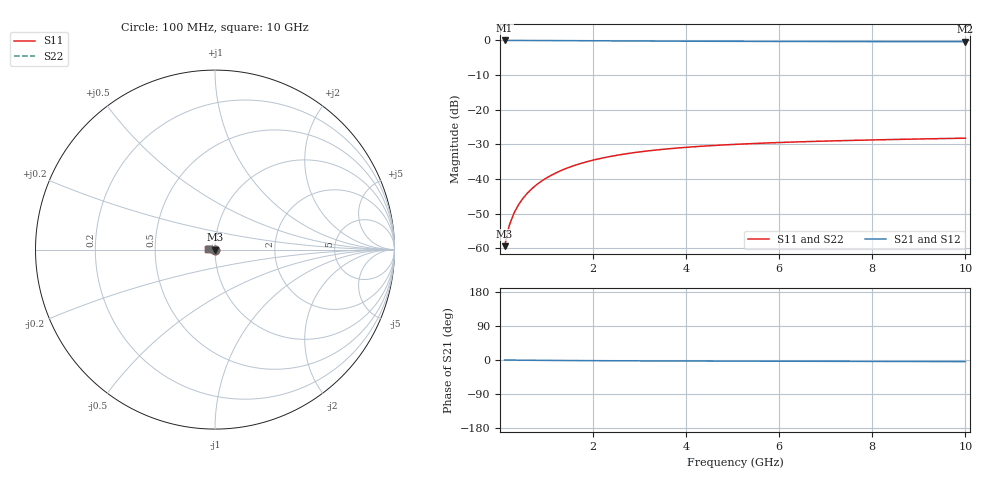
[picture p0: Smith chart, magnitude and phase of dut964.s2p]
! Touchstone file exported from HFSS 2024.1.0
!  File:  C:/UserFiles/LocalFiles/RDL_TSV_Batchsim/temp_TSV1_964_1779950633.aedt
!  Generated:  02:49:21 PM May 28, 2026
!  Design:  TSV1
!  Project:  temp_TSV1_964_1779950633
!  Setup:  Setup1
!  Solution:  Sweep
! Variables:
!  dtsv = 11.07um
!  hbump = 3um
!  htsv = 64.12um
!  lrdl = 252.1521522um
!  p = 40
!  p1 = 51.87um
!  t = 500um
!  trdl = 3um
!  wrdl = 24.89489489um
# GHz S MA R 50.000000
! Terminal data exported
! Port[1] = TSV22_T1
! Port[2] = TSV22_T2
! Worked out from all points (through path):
!   100 points, 100 MHz to 10 GHz, reference 50 ohm
!   highest |S21| = 0.00 dB at 100 MHz (marker M1); lowest = -0.4 dB at 10 GHz (marker M2)
!   lowest |S11| = -59.4 dB at 100 MHz (marker M3), VSWR 1.00, Z = 50 - j0.107 ohm
!   |S11| at or under -10 dB: start of sweep to end of sweep
!   |S22| runs from -59.4 to -28.2 dB; largest |S21 - S12| = 1.1e-14
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0.1  0.001073 -86.3  0.9999 -0.1  0.9999 -0.1  0.001073 -86.3
! Gamma 0 0 0 0
! Port Impedance 50 0 50 0
0.2  0.002139 -90.8  0.9997 -0.2  0.9997 -0.2  0.002139 -90.8
0.3  0.003206 -93.5  0.9996 -0.3  0.9996 -0.3  0.003206 -93.5
0.4  0.004268 -95.8  0.9993 -0.4  0.9993 -0.4  0.004268 -95.8
0.5  0.005322 -97.9  0.999 -0.5  0.999 -0.5  0.005322 -97.9
0.6  0.006363 -99.9  0.9986 -0.6  0.9986 -0.6  0.006363 -99.9
0.7  0.00739 -101.8  0.9982 -0.7  0.9982 -0.7  0.00739 -101.8
0.8  0.0084 -103.8  0.9977 -0.8  0.9977 -0.8  0.0084 -103.8
0.9  0.009391 -105.6  0.9971 -0.9  0.9971 -0.9  0.009391 -105.6
1.1  0.01131 -109.2  0.9959 -1.1  0.9959 -1.1  0.01131 -109.2
1.4  0.01401 -114.4  0.9939 -1.3  0.9939 -1.3  0.01401 -114.4
1.6  0.01568 -117.6  0.9924 -1.5  0.9924 -1.5  0.01568 -117.6
1.8  0.01725 -120.7  0.9909 -1.6  0.9909 -1.6  0.01725 -120.7
2.1  0.0194 -125.1  0.9885 -1.8  0.9885 -1.8  0.0194 -125.1
2.5  0.02194 -130.5  0.9854 -2.0  0.9854 -2.0  0.02194 -130.5
2.9  0.02411 -135.4  0.9825 -2.2  0.9825 -2.2  0.02411 -135.4
3.4  0.02641 -141.0  0.9792 -2.4  0.9792 -2.4  0.02641 -141.0
4.2  0.0293 -148.6  0.9746 -2.7  0.9746 -2.7  0.0293 -148.6
5.1  0.03174 -155.7  0.9706 -3.0  0.9706 -3.0  0.03174 -155.7
6.7  0.03482 -165.9  0.9655 -3.4  0.9655 -3.4  0.03481 -165.9
8.4  0.03712 -174.6  0.9619 -3.8  0.9619 -3.8  0.03712 -174.6
10  0.03885 178.6  0.9596 -4.3  0.9596 -4.3  0.03885 178.6
